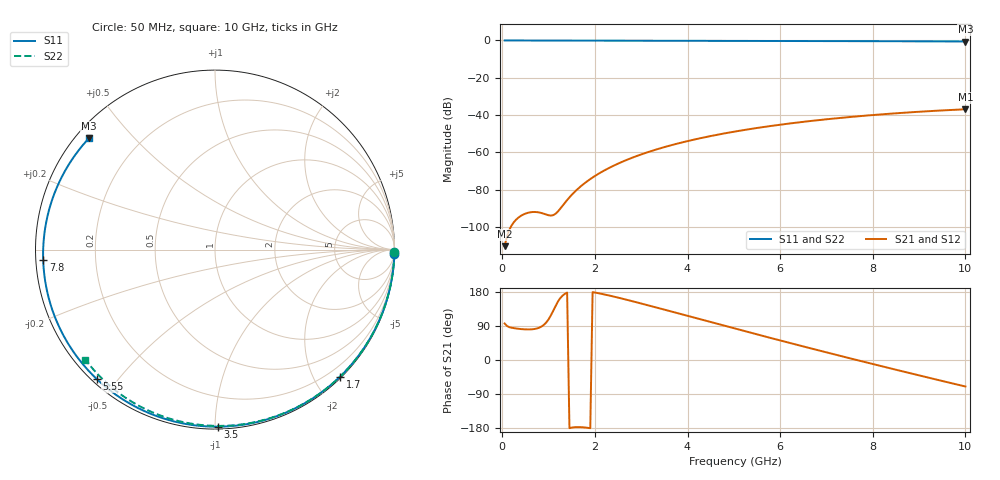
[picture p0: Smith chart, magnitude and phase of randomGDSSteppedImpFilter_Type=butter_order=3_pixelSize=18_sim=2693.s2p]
! freq	dB(S11)	phase(S11)	dB(S12)	phase(S12)
!  dB(S21)	phase(S21)	dB(S22)	phase(S22)
!S-par simulation data
#  GHz  S  DB  R 50
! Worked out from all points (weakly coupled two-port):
!   200 points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, 50 MHz to 10 GHz, reference 50 ohm
!   highest |S21| = -36.93 dB at 10 GHz (marker M1); lowest = -110.4 dB at 50 MHz (marker M2)
!   lowest |S11| = -0.6 dB at 10 GHz (marker M3), VSWR 30.87, Z = 1.85 + j18.9 ohm
!   |S11| at or under -10 dB: nowhere
!   |S22| runs from -0.5 to 0.0 dB; largest |S21 - S12| = 0
!   S11 on the Smith chart (normalised r, x): 50 MHz: 0, -83; 1.7 GHz: 0.02, -2.39; 3.5 GHz: 0.01, -1.02; 5.55 GHz: 0.01, -0.44; 7.8 GHz: 0.02, -0.03; 10 GHz: 0.04, +0.38
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0.05  -0.00 -1.4  -110.37 96.4  -110.37 96.4  -0.00 -0.8
0.4  -0.01 -10.9  -94.12 81.6  -94.12 81.6  -0.01 -6.4
0.8  -0.03 -21.7  -92.30 85.4  -92.30 85.4  -0.02 -12.9
1.2  -0.04 -32.4  -91.78 154.0  -91.78 154.0  -0.02 -19.2
1.6  -0.05 -42.9  -80.34 -177.1  -80.34 -177.1  -0.03 -25.5
1.7  -0.06 -45.4  -78.14 -177.2  -78.14 -177.2  -0.03 -27.1
1.75  -0.06 -46.7  -77.12 -177.6  -77.12 -177.6  -0.04 -27.9
2.05  -0.07 -54.3  -71.94 176.9  -71.94 176.9  -0.04 -32.6
2.45  -0.08 -64.3  -66.65 166.1  -66.65 166.1  -0.05 -38.7
2.9  -0.09 -75.1  -62.03 152.3  -62.03 152.3  -0.06 -45.6
3.4  -0.11 -86.7  -57.94 136.1  -57.94 136.1  -0.07 -53.0
3.5  -0.11 -89.0  -57.22 132.9  -57.22 132.9  -0.07 -54.5
4.25  -0.14 -105.6  -52.59 108.2  -52.59 108.2  -0.09 -65.4
5.05  -0.18 -122.4  -48.75 82.1  -48.75 82.1  -0.12 -76.7
5.55  -0.20 -132.5  -46.77 66.0  -46.77 66.0  -0.14 -83.5
6.15  -0.24 -144.4  -44.72 46.8  -44.72 46.8  -0.16 -91.5
6.7  -0.28 -155.1  -43.09 29.5  -43.09 29.5  -0.19 -98.7
7.25  -0.32 -165.8  -41.67 12.4  -41.67 12.4  -0.22 -105.8
7.8  -0.36 -176.5  -40.43 -4.5  -40.43 -4.5  -0.26 -112.7
8.35  -0.41 172.7  -39.35 -21.2  -39.35 -21.2  -0.31 -119.5
9.15  -0.48 156.5  -38.02 -45.1  -38.02 -45.1  -0.38 -129.3
10  -0.56 138.5  -36.93 -69.9  -36.93 -69.9  -0.47 -139.7
